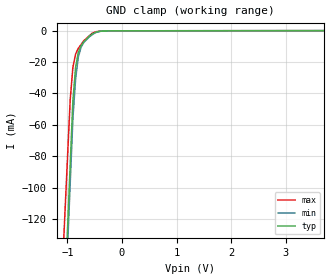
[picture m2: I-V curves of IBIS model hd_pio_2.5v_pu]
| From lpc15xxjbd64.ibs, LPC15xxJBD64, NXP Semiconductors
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[Model] hd_pio_2.5v_pu
Model_type Input
Vinl = 990.000mV
Vinh = 2.31000V
C_comp 598.000fF 598.000fF 598.000fF
| variable typ   min   max
[Voltage Range] 2.50000V 2.25000V 2.75000V
[POWER Clamp Reference] 2.50000V 2.25000V 2.75000V
[GND Clamp Reference] 0.00000V 0.00000V 0.00000V
[Temperature Range]   25   85   -40
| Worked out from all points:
|   GND clamp passes 1 mA (typ) near -0.47 V on its own axis
[GND Clamp]
-2.5V     -1.378A    -1.395A    -1.206A
-950mV    -86.18mA   -97.97mA   -44.49mA
-900mV    -44.52mA   -56.15mA   -23.31mA
-850mV    -23.34mA   -30.63mA   -14.9mA
-800mV    -13.73mA   -16.78mA   -11.26mA
-750mV    -9.608mA   -10.58mA   -8.859mA
-700mV    -7.137mA   -7.544mA   -6.459mA
-550mV    -2.299mA   -2.73mA    -1.744mA
-500mV    -1.317mA   -1.508mA   -934.4uA
-400mV    -395.5uA   -439.3uA   -349.8uA
-175mV    -86.62uA   -96.6uA    -87.06uA
5V        47.85uA    51.29uA    29.57uA
[POWER Clamp]
-2.5V     0A         0A         0A
5V        0A         0A         0A
